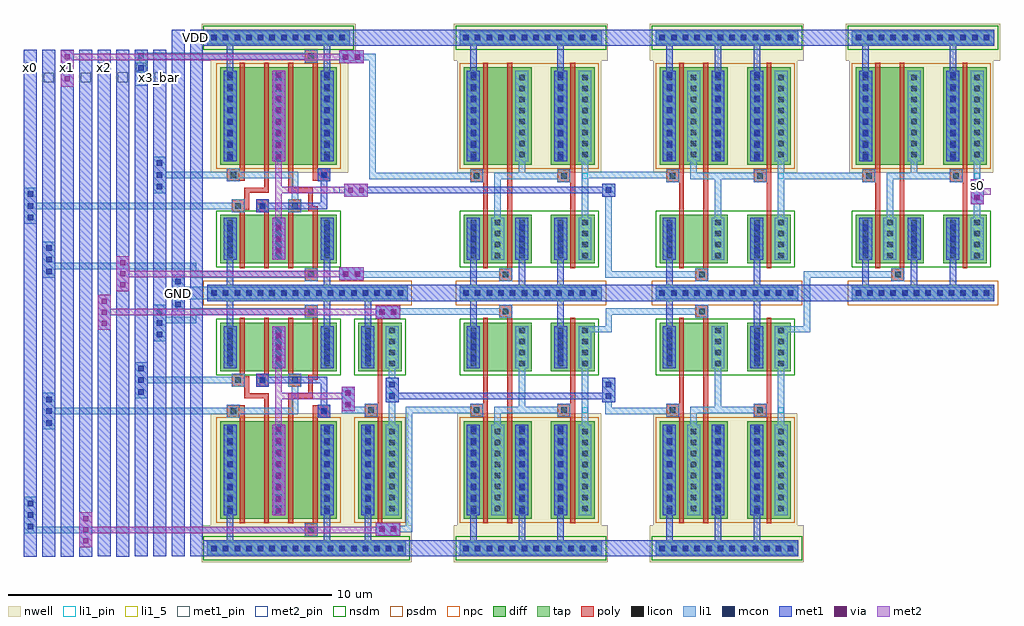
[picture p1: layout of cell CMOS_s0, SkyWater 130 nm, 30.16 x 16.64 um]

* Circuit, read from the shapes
.subckt CMOS_s0 GND VDD s0 x0 x0_bar x1 x1_bar x2 x2_bar x3 x3_bar
XM1 n1 x3 GND GND sky130_fd_pr__nfet_01v8 w=1.5 l=0.15
XM2 n2 x0 GND GND sky130_fd_pr__nfet_01v8 w=1.5 l=0.15
XM3 n3 x0 n1 GND sky130_fd_pr__nfet_01v8 w=1.5 l=0.15
XM4 CMOS_AND_5/A x3 n2 GND sky130_fd_pr__nfet_01v8 w=1.5 l=0.15
XM5 n4 x0_bar n3 GND sky130_fd_pr__nfet_01v8 w=1.5 l=0.15
XM6 n5 x3_bar CMOS_AND_5/A GND sky130_fd_pr__nfet_01v8 w=1.5 l=0.15
XM7 GND x3_bar n4 GND sky130_fd_pr__nfet_01v8 w=1.5 l=0.15
XM8 GND x0_bar n5 GND sky130_fd_pr__nfet_01v8 w=1.5 l=0.15
XM9 CMOS_AND_4/B n3 GND GND sky130_fd_pr__nfet_01v8 w=1.5 l=0.15
XM10 n6 x1_bar GND GND sky130_fd_pr__nfet_01v8 w=1.5 l=0.15
XM11 n7 x1 GND GND sky130_fd_pr__nfet_01v8 w=1.5 l=0.15
XM12 n8 x2 n6 GND sky130_fd_pr__nfet_01v8 w=1.5 l=0.15
XM13 GND x2_bar n7 GND sky130_fd_pr__nfet_01v8 w=1.5 l=0.15
XM14 CMOS_AND_4/A n8 GND GND sky130_fd_pr__nfet_01v8 w=1.5 l=0.15
XM15 CMOS_AND_5/B n7 GND GND sky130_fd_pr__nfet_01v8 w=1.5 l=0.15
XM16 n9 CMOS_AND_4/B GND GND sky130_fd_pr__nfet_01v8 w=1.5 l=0.15
XM17 n10 CMOS_AND_5/B GND GND sky130_fd_pr__nfet_01v8 w=1.5 l=0.15
XM18 n11 CMOS_AND_4/A n9 GND sky130_fd_pr__nfet_01v8 w=1.5 l=0.15
XM19 n12 CMOS_AND_5/A n10 GND sky130_fd_pr__nfet_01v8 w=1.5 l=0.15
XM20 CMOS_AND_4/AND n11 GND GND sky130_fd_pr__nfet_01v8 w=1.5 l=0.15
XM21 CMOS_OR_2/A n12 GND GND sky130_fd_pr__nfet_01v8 w=1.5 l=0.15
XM22 n13 CMOS_OR_2/A GND GND sky130_fd_pr__nfet_01v8 w=1.5 l=0.15
XM23 GND CMOS_AND_4/AND n13 GND sky130_fd_pr__nfet_01v8 w=1.5 l=0.15
XM24 s0 n13 GND GND sky130_fd_pr__nfet_01v8 w=1.5 l=0.15
XM25 n14 x0_bar VDD VDD sky130_fd_pr__pfet_01v8 w=3 l=0.15
XM26 n15 x3_bar VDD VDD sky130_fd_pr__pfet_01v8 w=3 l=0.15
XM27 n3 x3 n14 VDD sky130_fd_pr__pfet_01v8 w=3 l=0.15
XM28 CMOS_AND_5/A x0 n15 VDD sky130_fd_pr__pfet_01v8 w=3 l=0.15
XM29 n16 x3_bar n3 VDD sky130_fd_pr__pfet_01v8 w=3 l=0.15
XM30 n17 x0_bar CMOS_AND_5/A VDD sky130_fd_pr__pfet_01v8 w=3 l=0.15
XM31 VDD x0 n16 VDD sky130_fd_pr__pfet_01v8 w=3 l=0.15
XM32 VDD x3 n17 VDD sky130_fd_pr__pfet_01v8 w=3 l=0.15
XM33 CMOS_AND_4/B n3 VDD VDD sky130_fd_pr__pfet_01v8 w=3 l=0.15
XM34 n8 x1_bar VDD VDD sky130_fd_pr__pfet_01v8 w=3 l=0.15
XM35 n18 x1 VDD VDD sky130_fd_pr__pfet_01v8 w=3 l=0.15
XM36 VDD x2 n8 VDD sky130_fd_pr__pfet_01v8 w=3 l=0.15
XM37 n7 x2_bar n18 VDD sky130_fd_pr__pfet_01v8 w=3 l=0.15
XM38 CMOS_AND_4/A n8 VDD VDD sky130_fd_pr__pfet_01v8 w=3 l=0.15
XM39 CMOS_AND_5/B n7 VDD VDD sky130_fd_pr__pfet_01v8 w=3 l=0.15
XM40 n11 CMOS_AND_4/B VDD VDD sky130_fd_pr__pfet_01v8 w=3 l=0.15
XM41 n12 CMOS_AND_5/B VDD VDD sky130_fd_pr__pfet_01v8 w=3 l=0.15
XM42 VDD CMOS_AND_4/A n11 VDD sky130_fd_pr__pfet_01v8 w=3 l=0.15
XM43 VDD CMOS_AND_5/A n12 VDD sky130_fd_pr__pfet_01v8 w=3 l=0.15
XM44 CMOS_AND_4/AND n11 VDD VDD sky130_fd_pr__pfet_01v8 w=3 l=0.15
XM45 CMOS_OR_2/A n12 VDD VDD sky130_fd_pr__pfet_01v8 w=3 l=0.15
XM46 n19 CMOS_OR_2/A VDD VDD sky130_fd_pr__pfet_01v8 w=3 l=0.15
XM47 n13 CMOS_AND_4/AND n19 VDD sky130_fd_pr__pfet_01v8 w=3 l=0.15
XM48 s0 n13 VDD VDD sky130_fd_pr__pfet_01v8 w=3 l=0.15
.ends

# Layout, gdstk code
import gdstk
lib = gdstk.Library(unit=1e-6, precision=1e-09)
def R(c, l, rs):  # rectangles x0, y0, x1, y1
    for r in rs: c.add(gdstk.rectangle(r[:2], r[2:], *l))
def A(c, l, x, y, w, h, nx, ny, dx, dy):  # array of equal rectangles
    R(c, l, [(x+i*dx, y+j*dy, x+i*dx+w, y+j*dy+h) for i in range(nx) for j in range(ny)])
nwell = (64, 20)
diff = (65, 20)
tap = (65, 44)
poly = (66, 20)
licon = (66, 44)
li1_5 = (67, 5)
li1_pin = (67, 16)
li1 = (67, 20)
mcon = (67, 44)
met1_pin = (68, 16)
met1 = (68, 20)
via = (68, 44)
met2_pin = (69, 16)
met2 = (69, 20)
nsdm = (93, 44)
psdm = (94, 20)
npc = (95, 20)

cmos_xnor = lib.new_cell('CMOS_XNOR')
R(cmos_xnor, nwell, [(-2.965,-0.25,3.14,3.2), (-3.245,3.2,3.245,4.35)])
R(cmos_xnor, diff, [(-2.665,-3.05,0.935,-1.55), (1.59,-3.05,2.94,-1.55), (-2.665,0,0.935,3), (1.59,0,2.94,3)])
R(cmos_xnor, tap, [(-3.065,-4.22,3.12,-3.72), (-3.065,3.67,3.065,4.17)])
A(cmos_xnor, poly, -2.065, -3.2, 0.15, 1.725, 3, 1, 0.75, 0)
R(cmos_xnor, poly, [(-0.065,-3.6,0.335,-3.2), (0.185,-3.2,0.335,-1.44), (2.19,-3.2,2.34,-0.55), (-2.315,-1.475,-1.915,-1.4), (-1.565,-1.475,-1.165,-1.075), (-0.565,-1.475,-0.165,-1.075), (0.045,-1.44,0.335,-1.29), (-2.315,-1.4,-1.775,-1.075), (0.045,-1.29,0.195,-0.865), (-1.925,-1.075,-1.775,-0.865), (-1.925,-0.865,-1.165,-0.715), (-0.565,-0.865,0.195,-0.715), (-1.315,-0.715,-1.165,3.15), (-0.565,-0.715,-0.415,3.15), (1.79,-0.55,2.34,-0.15), (-2.465,-0.52,-2.065,-0.505), (0.335,-0.52,0.735,-0.505), (-2.465,-0.505,-1.915,-0.12), (0.185,-0.505,0.735,-0.12), (2.19,-0.15,2.34,3.15), (-2.065,-0.12,-1.915,3.15), (0.185,-0.12,0.335,3.15), (-0.065,3.15,0.335,3.55)])
A(cmos_xnor, licon, -2.95, -4.055, 0.17, 0.17, 17, 2, 0.36, 7.89)
A(cmos_xnor, licon, -2.45, -2.895, 0.17, 0.17, 3, 4, 1.5, 0.34)
A(cmos_xnor, licon, 1.805, -2.895, 0.17, 0.17, 1, 4, 0, 0.34)
A(cmos_xnor, licon, 2.555, -2.895, 0.17, 0.17, 1, 4, 0, 0.34)
A(cmos_xnor, licon, -2.45, 0.225, 0.17, 0.17, 3, 8, 1.5, 0.34)
A(cmos_xnor, licon, 1.805, 0.225, 0.17, 0.17, 1, 8, 0, 0.34)
A(cmos_xnor, licon, 2.555, 0.225, 0.17, 0.17, 1, 8, 0, 0.34)
R(cmos_xnor, licon, [(0.05,-3.485,0.22,-3.315), (-2.2,-1.36,-2.03,-1.19), (-1.45,-1.36,-1.28,-1.19), (-0.45,-1.36,-0.28,-1.19), (1.905,-0.435,2.075,-0.265), (-2.35,-0.405,-2.18,-0.235), (0.45,-0.405,0.62,-0.235), (0.05,3.265,0.22,3.435)])
R(cmos_xnor, li1_5, [(1.905,-0.435,2.075,-0.265)])
R(cmos_xnor, li1_pin, [(0.05,-3.485,0.22,-3.315), (-2.2,-1.36,-2.03,-1.19), (2.555,-0.91,2.725,-0.74), (-2.38,-0.445,-2.135,-0.21), (0.05,3.265,0.22,3.435)])
A(cmos_xnor, li1, -2.565, -2.95, 0.4, 1.3, 3, 1, 1.5, 0)
A(cmos_xnor, li1, -2.565, 0.1, 0.4, 2.8, 3, 1, 1.5, 0)
R(cmos_xnor, li1, [(-3.065,-4.17,3.12,-3.77), (-0.065,-3.6,0.335,-3.2), (1.69,-2.95,2.09,-1.65), (2.44,-2.95,2.84,-1.65), (2.54,-1.65,2.74,0.1), (-2.315,-1.475,-1.915,-1.075), (-1.565,-1.475,-1.165,-1.075), (-0.565,-1.475,-0.165,-1.075), (1.08,-1.08,1.48,-0.68), (-0.465,-1.075,-0.265,-0.42), (1.18,-0.68,1.38,-0.45), (1.79,-0.55,2.19,-0.45), (-2.465,-0.52,-2.065,-0.42), (0.335,-0.52,0.735,-0.12), (1.18,-0.45,2.19,-0.25), (-2.465,-0.42,-0.265,-0.22), (1.79,-0.25,2.19,-0.15), (-2.465,-0.22,-2.065,-0.12), (1.69,0.1,2.09,2.9), (2.44,0.1,2.84,2.9), (-0.065,3.15,0.335,3.55), (-3.065,3.72,3.065,4.12)])
A(cmos_xnor, mcon, -2.95, -4.055, 0.17, 0.17, 17, 2, 0.36, 7.89)
A(cmos_xnor, mcon, -2.45, -2.745, 0.17, 0.17, 3, 3, 1.5, 0.36)
A(cmos_xnor, mcon, 1.805, -2.745, 0.17, 0.17, 1, 3, 0, 0.36)
A(cmos_xnor, mcon, -2.45, 0.155, 0.17, 0.17, 3, 8, 1.5, 0.36)
A(cmos_xnor, mcon, 1.805, 0.155, 0.17, 0.17, 1, 8, 0, 0.36)
R(cmos_xnor, mcon, [(-1.45,-1.36,-1.28,-1.19), (1.195,-0.965,1.365,-0.795), (0.45,-0.405,0.62,-0.235)])
R(cmos_xnor, met1_pin, [(-1.165,-4.07,-0.965,-3.87), (-1.165,3.82,-0.965,4.02)])
A(cmos_xnor, met1, -2.565, -2.95, 0.4, 1.3, 3, 1, 1.5, 0)
A(cmos_xnor, met1, -2.565, 0.1, 0.4, 2.8, 3, 1, 1.5, 0)
R(cmos_xnor, met1, [(-3.065,-4.22,3.12,-3.72), (-2.465,-3.72,-2.265,-2.95), (0.535,-3.72,0.735,-2.95), (1.79,-3.72,1.99,-2.95), (1.69,-2.95,2.09,-1.65), (-1.565,-1.475,-1.165,-1.375), (-1.565,-1.375,0.63,-1.175), (-1.565,-1.175,-1.165,-1.075), (0.435,-1.175,0.63,-0.52), (1.08,-1.08,1.48,-0.68), (0.335,-0.52,0.735,-0.12), (1.69,0.1,2.09,2.9), (-2.465,2.9,-2.265,3.67), (0.535,2.9,0.735,3.67), (1.79,2.9,1.99,3.67), (-3.065,3.67,3.065,4.17)])
A(cmos_xnor, via, -0.94, -2.735, 0.15, 0.15, 1, 3, 0, 0.36)
A(cmos_xnor, via, -0.94, 0.165, 0.15, 0.15, 1, 8, 0, 0.36)
R(cmos_xnor, via, [(1.205,-0.955,1.355,-0.805)])
R(cmos_xnor, met2, [(-1.065,-2.95,-0.665,-1.65), (-0.965,-1.65,-0.765,-0.88), (1.08,-1.08,1.48,-0.88), (-0.965,-0.88,1.48,-0.68), (-0.965,-0.68,-0.765,0.1), (-1.065,0.1,-0.665,2.9)])
R(cmos_xnor, nsdm, [(-2.79,-3.175,1.06,-1.425), (1.465,-3.175,3.065,-1.425), (-3.19,3.545,3.19,4.295)])
R(cmos_xnor, psdm, [(-3.19,-4.345,3.245,-3.595), (-2.79,-0.125,1.06,3.125), (1.465,-0.125,3.065,3.125)])
R(cmos_xnor, npc, [(-0.05,-3.585,0.32,-3.215), (-2.3,-1.46,-1.93,-1.09), (-1.55,-1.46,-1.18,-1.09), (-0.55,-1.46,-0.18,-1.09), (1.805,-0.535,2.175,-0.165), (-2.45,-0.505,-2.08,-0.135), (0.35,-0.505,0.72,-0.135), (-0.05,3.165,0.32,3.535)])
cmos_xnor.add(gdstk.Label('GND!', (-1.065,-3.97), layer=68, texttype=16))
cmos_xnor.add(gdstk.Label('VDD', (-1.065,3.92), layer=68, texttype=16))
cmos_xnor.add(gdstk.Label('XNOR', (2.64,-0.825), layer=67, texttype=16))
cmos_xnor.add(gdstk.Label('B', (0.135,3.35), layer=67, texttype=16))
cmos_xnor.add(gdstk.Label('A_bar', (0.135,-3.4), layer=67, texttype=16))
cmos_xnor.add(gdstk.Label('A', (-2.115,-1.275), layer=67, texttype=16))
cmos_xnor.add(gdstk.Label('B_bar', (-2.257,-0.327), layer=67, texttype=16))

cmos_or = lib.new_cell('CMOS_OR')
R(cmos_or, nwell, [(-2.275,-0.25,2.175,3.2), (-2.38,3.2,2.38,4.35)])
R(cmos_or, diff, [(-2.075,-3.05,0.025,-1.55), (0.625,-3.05,1.975,-1.55), (-2.075,0,0.025,3), (0.625,0,1.975,3)])
R(cmos_or, tap, [(-2.2,-4.22,2.2,-3.72), (-2.2,3.67,2.2,4.17)])
R(cmos_or, poly, [(-0.975,-3.6,-0.575,-3.2), (-1.475,-3.2,-1.325,-0.55), (-0.725,-3.2,-0.575,3.15), (1.225,-3.2,1.375,-0.55), (-1.875,-0.55,-1.325,-0.15), (0.825,-0.55,1.375,-0.15), (-1.475,-0.15,-1.325,3.15), (1.225,-0.15,1.375,3.15)])
A(cmos_or, licon, -2.085, -4.055, 0.17, 0.17, 12, 2, 0.36, 7.89)
A(cmos_or, licon, -1.86, -2.895, 0.17, 0.17, 3, 4, 0.75, 0.34)
A(cmos_or, licon, 0.84, -2.895, 0.17, 0.17, 1, 4, 0, 0.34)
A(cmos_or, licon, 1.59, -2.895, 0.17, 0.17, 1, 4, 0, 0.34)
A(cmos_or, licon, -1.86, 0.225, 0.17, 0.17, 1, 8, 0, 0.34)
A(cmos_or, licon, -0.36, 0.225, 0.17, 0.17, 1, 8, 0, 0.34)
A(cmos_or, licon, 0.84, 0.225, 0.17, 0.17, 1, 8, 0, 0.34)
A(cmos_or, licon, 1.59, 0.225, 0.17, 0.17, 1, 8, 0, 0.34)
R(cmos_or, licon, [(-0.86,-3.485,-0.69,-3.315), (-1.76,-0.435,-1.59,-0.265), (0.94,-0.435,1.11,-0.265)])
R(cmos_or, li1_pin, [(-0.86,-3.485,-0.69,-3.315), (-1.76,-0.435,-1.59,-0.265), (1.59,-0.435,1.76,-0.265)])
A(cmos_or, li1, -1.975, -2.95, 0.4, 1.3, 3, 1, 0.75, 0)
R(cmos_or, li1, [(-2.2,-4.17,2.2,-3.77), (-0.975,-3.6,-0.575,-3.2), (0.725,-2.95,1.125,-1.65), (1.475,-2.95,1.875,-1.65), (-1.125,-1.65,-0.925,-0.45), (1.575,-1.65,1.775,0.1), (-1.875,-0.55,-1.475,-0.15), (0.825,-0.55,1.225,-0.45), (-1.125,-0.45,1.225,-0.25), (-0.375,-0.25,-0.175,0.1), (0.825,-0.25,1.225,-0.15), (-1.975,0.1,-1.575,2.9), (-0.475,0.1,-0.075,2.9), (0.725,0.1,1.125,2.9), (1.475,0.1,1.875,2.9), (-2.2,3.72,2.2,4.12)])
A(cmos_or, mcon, -2.085, -4.055, 0.17, 0.17, 12, 2, 0.36, 7.89)
A(cmos_or, mcon, -1.86, -2.745, 0.17, 0.17, 1, 3, 0, 0.36)
A(cmos_or, mcon, -0.36, -2.745, 0.17, 0.17, 1, 3, 0, 0.36)
A(cmos_or, mcon, 0.84, -2.745, 0.17, 0.17, 1, 3, 0, 0.36)
A(cmos_or, mcon, -1.86, 0.155, 0.17, 0.17, 1, 8, 0, 0.36)
A(cmos_or, mcon, 0.84, 0.155, 0.17, 0.17, 1, 8, 0, 0.36)
R(cmos_or, met1_pin, [(-0.3,-4.07,-0.1,-3.87), (-0.3,3.82,-0.1,4.02)])
R(cmos_or, met1, [(-2.2,-4.22,2.2,-3.72), (-1.875,-3.72,-1.675,-2.95), (-0.375,-3.72,-0.175,-2.95), (0.825,-3.72,1.025,-2.95), (-1.975,-2.95,-1.575,-1.65), (-0.475,-2.95,-0.075,-1.65), (0.725,-2.95,1.125,-1.65), (-1.975,0.1,-1.575,2.9), (0.725,0.1,1.125,2.9), (-1.875,2.9,-1.675,3.67), (0.825,2.9,1.025,3.67), (-2.2,3.67,2.2,4.17)])
R(cmos_or, nsdm, [(-2.2,-3.175,2.1,-1.425), (-2.325,3.545,2.325,4.295)])
R(cmos_or, psdm, [(-2.325,-4.345,2.325,-3.595), (-2.2,-0.125,2.1,3.125)])
R(cmos_or, npc, [(-0.96,-3.585,-0.59,-3.215), (-1.86,-0.535,-1.49,-0.165), (0.84,-0.535,1.21,-0.165)])
cmos_or.add(gdstk.Label('GND!', (-0.2,-3.97), layer=68, texttype=16))
cmos_or.add(gdstk.Label('VDD', (-0.2,3.92), layer=68, texttype=16))
cmos_or.add(gdstk.Label('OR', (1.675,-0.35), layer=67, texttype=16))
cmos_or.add(gdstk.Label('B', (-0.775,-3.4), layer=67, texttype=16))
cmos_or.add(gdstk.Label('A', (-1.675,-0.35), layer=67, texttype=16))

cmos_and = lib.new_cell('CMOS_AND')
R(cmos_and, nwell, [(-2.275,-0.25,2.175,3.2), (-2.38,3.2,2.38,4.35)])
R(cmos_and, diff, [(-2.075,-3.05,0.025,-1.55), (0.625,-3.05,1.975,-1.55), (-2.075,0,0.025,3), (0.625,0,1.975,3)])
R(cmos_and, tap, [(-2.2,-4.22,2.2,-3.72), (-2.2,3.67,2.2,4.17)])
R(cmos_and, poly, [(-0.975,-3.6,-0.575,-3.2), (-1.475,-3.2,-1.325,-0.55), (-0.725,-3.2,-0.575,3.15), (1.225,-3.2,1.375,-0.55), (-1.875,-0.55,-1.325,-0.15), (0.825,-0.55,1.375,-0.15), (-1.475,-0.15,-1.325,3.15), (1.225,-0.15,1.375,3.15)])
A(cmos_and, licon, -2.085, -4.055, 0.17, 0.17, 12, 2, 0.36, 7.89)
A(cmos_and, licon, -1.86, -2.895, 0.17, 0.17, 1, 4, 0, 0.34)
A(cmos_and, licon, -0.36, -2.895, 0.17, 0.17, 1, 4, 0, 0.34)
A(cmos_and, licon, 0.84, -2.895, 0.17, 0.17, 1, 4, 0, 0.34)
A(cmos_and, licon, 1.59, -2.895, 0.17, 0.17, 1, 4, 0, 0.34)
A(cmos_and, licon, -1.86, 0.225, 0.17, 0.17, 3, 8, 0.75, 0.34)
A(cmos_and, licon, 0.84, 0.225, 0.17, 0.17, 1, 8, 0, 0.34)
A(cmos_and, licon, 1.59, 0.225, 0.17, 0.17, 1, 8, 0, 0.34)
R(cmos_and, licon, [(-0.86,-3.485,-0.69,-3.315), (-1.76,-0.435,-1.59,-0.265), (0.94,-0.435,1.11,-0.265)])
R(cmos_and, li1_pin, [(-0.86,-3.485,-0.69,-3.315), (-1.76,-0.435,-1.59,-0.265), (1.59,-0.435,1.76,-0.265)])
A(cmos_and, li1, -1.975, 0.1, 0.4, 2.8, 3, 1, 0.75, 0)
R(cmos_and, li1, [(-2.2,-4.17,2.2,-3.77), (-0.975,-3.6,-0.575,-3.2), (-1.975,-2.95,-1.575,-1.65), (-0.475,-2.95,-0.075,-1.65), (0.725,-2.95,1.125,-1.65), (1.475,-2.95,1.875,-1.65), (-0.375,-1.65,-0.175,-0.45), (1.575,-1.65,1.775,0.1), (-1.875,-0.55,-1.475,-0.15), (0.825,-0.55,1.225,-0.45), (-1.125,-0.45,1.225,-0.25), (-1.125,-0.25,-0.925,0.1), (0.825,-0.25,1.225,-0.15), (0.725,0.1,1.125,2.9), (1.475,0.1,1.875,2.9), (-2.2,3.72,2.2,4.12)])
A(cmos_and, mcon, -2.085, -4.055, 0.17, 0.17, 12, 2, 0.36, 7.89)
A(cmos_and, mcon, -1.86, -2.745, 0.17, 0.17, 1, 3, 0, 0.36)
A(cmos_and, mcon, 0.84, -2.745, 0.17, 0.17, 1, 3, 0, 0.36)
A(cmos_and, mcon, -1.86, 0.155, 0.17, 0.17, 1, 8, 0, 0.36)
A(cmos_and, mcon, -0.36, 0.155, 0.17, 0.17, 1, 8, 0, 0.36)
A(cmos_and, mcon, 0.84, 0.155, 0.17, 0.17, 1, 8, 0, 0.36)
R(cmos_and, met1_pin, [(-0.3,-4.07,-0.1,-3.87), (-0.3,3.82,-0.1,4.02)])
R(cmos_and, met1, [(-2.2,-4.22,2.2,-3.72), (-1.875,-3.72,-1.675,-2.95), (0.825,-3.72,1.025,-2.95), (-1.975,-2.95,-1.575,-1.65), (0.725,-2.95,1.125,-1.65), (-1.975,0.1,-1.575,2.9), (-0.475,0.1,-0.075,2.9), (0.725,0.1,1.125,2.9), (-1.875,2.9,-1.675,3.67), (-0.37,2.9,-0.17,3.67), (0.825,2.9,1.025,3.67), (-2.2,3.67,2.2,4.17)])
R(cmos_and, nsdm, [(-2.2,-3.175,2.1,-1.425), (-2.325,3.545,2.325,4.295)])
R(cmos_and, psdm, [(-2.325,-4.345,2.325,-3.595), (-2.2,-0.125,2.1,3.125)])
R(cmos_and, npc, [(-0.96,-3.585,-0.59,-3.215), (-1.86,-0.535,-1.49,-0.165), (0.84,-0.535,1.21,-0.165)])
cmos_and.add(gdstk.Label('GND!', (-0.2,-3.97), layer=68, texttype=16))
cmos_and.add(gdstk.Label('VDD', (-0.2,3.92), layer=68, texttype=16))
cmos_and.add(gdstk.Label('AND', (1.675,-0.35), layer=67, texttype=16))
cmos_and.add(gdstk.Label('A', (-0.775,-3.4), layer=67, texttype=16))
cmos_and.add(gdstk.Label('B', (-1.675,-0.35), layer=67, texttype=16))

cmos_xor = lib.new_cell('CMOS_XOR')
R(cmos_xor, nwell, [(-2.1,-0.25,2.15,3.2), (-2.38,3.2,2.38,4.35)])
R(cmos_xor, diff, [(-1.8,-3.05,1.8,-1.55), (-1.8,0,1.8,3)])
R(cmos_xor, tap, [(-2.2,-4.22,2.2,-3.72), (-2.2,3.67,2.2,4.17)])
A(cmos_xor, poly, -1.2, -3.2, 0.15, 1.725, 3, 1, 0.75, 0)
R(cmos_xor, poly, [(0.8,-3.6,1.2,-3.2), (1.05,-3.2,1.2,-1.44), (-1.45,-1.475,-1.05,-1.4), (-0.7,-1.475,-0.3,-1.075), (0.3,-1.475,0.7,-1.075), (0.91,-1.44,1.2,-1.29), (-1.45,-1.4,-0.91,-1.075), (0.91,-1.29,1.06,-0.865), (-1.06,-1.075,-0.91,-0.865), (-1.06,-0.865,-0.3,-0.715), (0.3,-0.865,1.06,-0.715), (-0.45,-0.715,-0.3,3.15), (0.3,-0.715,0.45,3.15), (-1.6,-0.52,-1.2,-0.505), (1.2,-0.52,1.6,-0.505), (-1.6,-0.505,-1.05,-0.12), (1.05,-0.505,1.6,-0.12), (-1.2,-0.12,-1.05,3.15), (1.05,-0.12,1.2,3.15), (0.8,3.15,1.2,3.55)])
A(cmos_xor, licon, -2.085, -4.055, 0.17, 0.17, 12, 2, 0.36, 7.89)
A(cmos_xor, licon, -1.585, -2.895, 0.17, 0.17, 3, 4, 1.5, 0.34)
A(cmos_xor, licon, -1.585, 0.225, 0.17, 0.17, 3, 8, 1.5, 0.34)
R(cmos_xor, licon, [(0.915,-3.485,1.085,-3.315), (-1.335,-1.36,-1.165,-1.19), (-0.585,-1.36,-0.415,-1.19), (0.415,-1.36,0.585,-1.19), (-1.485,-0.405,-1.315,-0.235), (1.315,-0.405,1.485,-0.235), (0.915,3.265,1.085,3.435)])
R(cmos_xor, li1_pin, [(0.915,-3.485,1.085,-3.315), (-1.335,-1.36,-1.165,-1.19), (-1.515,-0.445,-1.27,-0.21), (0.915,3.265,1.085,3.435)])
A(cmos_xor, li1, -1.7, -2.95, 0.4, 1.3, 3, 1, 1.5, 0)
A(cmos_xor, li1, -1.7, 0.1, 0.4, 2.8, 3, 1, 1.5, 0)
R(cmos_xor, li1, [(-2.2,-4.17,2.2,-3.77), (0.8,-3.6,1.2,-3.2), (-1.45,-1.475,-1.05,-1.075), (-0.7,-1.475,-0.3,-1.075), (0.3,-1.475,0.7,-1.075), (0.4,-1.075,0.6,-0.42), (-1.6,-0.52,-1.2,-0.42), (1.2,-0.52,1.6,-0.12), (-1.6,-0.42,0.6,-0.22), (-1.6,-0.22,-1.2,-0.12), (0.8,3.15,1.2,3.55), (-2.2,3.72,2.2,4.12)])
A(cmos_xor, mcon, -2.085, -4.055, 0.17, 0.17, 12, 2, 0.36, 7.89)
A(cmos_xor, mcon, -1.585, -2.745, 0.17, 0.17, 3, 3, 1.5, 0.36)
A(cmos_xor, mcon, -1.585, 0.155, 0.17, 0.17, 3, 8, 1.5, 0.36)
R(cmos_xor, mcon, [(-0.585,-1.36,-0.415,-1.19), (1.315,-0.405,1.485,-0.235)])
R(cmos_xor, met1_pin, [(-0.3,-4.07,-0.1,-3.87), (-0.3,3.82,-0.1,4.02)])
A(cmos_xor, met1, -1.7, -2.95, 0.4, 1.3, 3, 1, 1.5, 0)
A(cmos_xor, met1, -1.7, 0.1, 0.4, 2.8, 3, 1, 1.5, 0)
R(cmos_xor, met1, [(-2.2,-4.22,2.2,-3.72), (-1.6,-3.72,-1.4,-2.95), (1.4,-3.72,1.6,-2.95), (-0.7,-1.475,-0.3,-1.375), (-0.7,-1.375,1.495,-1.175), (-0.7,-1.175,-0.3,-1.075), (1.3,-1.175,1.495,-0.52), (1.2,-0.52,1.6,-0.12), (-1.6,2.9,-1.4,3.67), (1.4,2.9,1.6,3.67), (-2.2,3.67,2.2,4.17)])
A(cmos_xor, via, -0.075, -2.735, 0.15, 0.15, 1, 3, 0, 0.36)
A(cmos_xor, via, -0.075, 0.165, 0.15, 0.15, 1, 8, 0, 0.36)
R(cmos_xor, met2_pin, [(1.7,-0.87,1.88,-0.69)])
R(cmos_xor, met2, [(-0.2,-2.95,0.2,-1.65), (-0.1,-1.65,0.1,-0.88), (-0.1,-0.88,2.15,-0.68), (-0.1,-0.68,0.1,0.1), (-0.2,0.1,0.2,2.9)])
R(cmos_xor, nsdm, [(-1.925,-3.175,1.925,-1.425), (-2.325,3.545,2.325,4.295)])
R(cmos_xor, psdm, [(-2.325,-4.345,2.325,-3.595), (-1.925,-0.125,1.925,3.125)])
R(cmos_xor, npc, [(0.815,-3.585,1.185,-3.215), (-1.435,-1.46,-1.065,-1.09), (-0.685,-1.46,-0.315,-1.09), (0.315,-1.46,0.685,-1.09), (-1.585,-0.505,-1.215,-0.135), (1.215,-0.505,1.585,-0.135), (0.815,3.165,1.185,3.535)])
cmos_xor.add(gdstk.Label('GND!', (-0.2,-3.97), layer=68, texttype=16))
cmos_xor.add(gdstk.Label('VDD', (-0.2,3.92), layer=68, texttype=16))
cmos_xor.add(gdstk.Label('B', (1,3.35), layer=67, texttype=16))
cmos_xor.add(gdstk.Label('A_bar', (1,-3.4), layer=67, texttype=16))
cmos_xor.add(gdstk.Label('A', (-1.25,-1.275), layer=67, texttype=16))
cmos_xor.add(gdstk.Label('B_bar', (-1.392,-0.327), layer=67, texttype=16))
cmos_xor.add(gdstk.Label('XOR', (1.79,-0.78), layer=69, texttype=16))

cmos_s0 = lib.new_cell('CMOS_s0')
R(cmos_s0, li1, [(-4.215,-7.5,-3.455,-7.4), (-15.08,-7.42,-6.41,-7.22), (-4.215,-7.4,-3.085,-7.2), (-15.08,-7.22,-14.68,-6.3), (-4.215,-7.2,-3.455,-7.1), (-3.285,-7.2,-3.085,-3.72), (-14.51,-4.21,-14.11,-3.75), (-14.51,-3.75,-8.81,-3.55), (2.885,-3.75,4.81,-3.55), (-5.265,-3.72,-5.165,-3.65), (-3.285,-3.72,-1.295,-3.52), (-5.265,-3.65,-4.865,-3.25), (-14.51,-3.55,-14.11,-3.09), (2.885,-3.55,3.085,-3.38), (-3.905,-3.38,-3.505,-2.62), (2.785,-3.38,3.185,-2.62), (-11.66,-3.255,-11.26,-2.795), (-11.66,-2.795,-8.66,-2.595), (-11.66,-2.595,-11.26,-2.135), (-11.09,-1.49,-10.69,-0.93), (2.355,-1.22,3.09,-1.02), (8.515,-1.22,9.21,-1.02), (2.89,-1.02,3.09,-0.67), (9.01,-1.02,9.21,0.47), (-11.09,-0.93,-9.75,-0.73), (-4.215,-0.79,-3.455,-0.67), (-11.09,-0.73,-10.69,-0.37), (-9.95,-0.73,-9.75,-0.67), (-9.95,-0.67,-6.41,-0.47), (-4.215,-0.67,-0.395,-0.47), (2.89,-0.67,5.665,-0.47), (-10.52,-0.56,-10.12,-0.2), (-4.215,-0.47,-3.455,-0.39), (-10.52,-0.2,-9.41,0.2), (-10.52,0.2,-10.12,0.56), (-5.34,0.39,-4.58,0.47), (-14.51,0.47,-14.11,0.73), (-9.95,0.47,-6.41,0.67), (-5.34,0.47,-0.395,0.67), (2.885,0.47,5.665,0.67), (9.01,0.47,11.725,0.67), (-9.95,0.67,-9.75,0.73), (-5.34,0.67,-4.58,0.79), (2.885,0.67,3.085,2.98), (-14.51,0.73,-9.75,0.93), (-14.51,0.93,-14.11,1.59), (-15.08,2.135,-14.68,2.595), (-15.08,2.595,-8.66,2.795), (14.175,2.75,14.575,3.51), (-15.08,2.795,-14.68,3.255), (2.785,2.98,3.185,3.38), (-11.09,3.09,-10.69,3.55), (-4.41,3.52,-1.295,3.72), (8.415,3.52,10.825,3.72), (-11.09,3.55,-8.81,3.75), (2.355,3.55,4.765,3.75), (-4.41,3.72,-4.21,7.2), (-11.09,3.75,-10.69,4.21), (-11.66,6.4,-11.26,7.22), (-5.34,7.1,-4.58,7.2), (-5.34,7.2,-4.21,7.4), (-11.66,7.22,-6.41,7.42), (-5.34,7.4,-4.58,7.5), (-11.66,7.42,-11.26,7.52)])
A(cmos_s0, mcon, -14.965, -7.305, 0.17, 0.17, 1, 3, 0, 0.36)
A(cmos_s0, mcon, -14.395, -4.095, 0.17, 0.17, 1, 3, 0, 0.36)
A(cmos_s0, mcon, -11.545, -3.14, 0.17, 0.17, 1, 3, 0, 0.36)
A(cmos_s0, mcon, -10.975, -1.375, 0.17, 0.17, 1, 3, 0, 0.36)
A(cmos_s0, mcon, -10.405, -0.445, 0.17, 0.17, 1, 3, 0, 0.36)
A(cmos_s0, mcon, -14.395, 0.585, 0.17, 0.17, 1, 3, 0, 0.36)
A(cmos_s0, mcon, -14.965, 2.25, 0.17, 0.17, 1, 3, 0, 0.36)
A(cmos_s0, mcon, -10.975, 3.205, 0.17, 0.17, 1, 3, 0, 0.36)
A(cmos_s0, mcon, -11.545, 6.515, 0.17, 0.17, 1, 3, 0, 0.36)
R(cmos_s0, mcon, [(-4.1,-7.385,-3.93,-7.215), (-3.74,-7.385,-3.57,-7.215), (-5.15,-3.535,-4.98,-3.365), (-3.79,-3.265,-3.62,-3.095), (2.9,-3.265,3.07,-3.095), (-3.79,-2.905,-3.62,-2.735), (2.9,-2.905,3.07,-2.735), (-4.1,-0.675,-3.93,-0.505), (-3.74,-0.675,-3.57,-0.505), (-5.225,0.505,-5.055,0.675), (-4.865,0.505,-4.695,0.675), (14.29,2.865,14.46,3.035), (2.9,3.095,3.07,3.265), (14.29,3.225,14.46,3.395), (-5.225,7.215,-5.055,7.385), (-4.865,7.215,-4.695,7.385)])
R(cmos_s0, met1_pin, [(-10.405,-0.085,-10.235,0.085), (-14.465,6.51,-14.16,6.81), (-13.32,6.51,-13.015,6.81), (-12.185,6.515,-11.88,6.815), (-11.04,6.515,-10.735,6.815), (-15.03,6.815,-14.725,7.115), (-13.89,6.815,-13.585,7.115), (-12.75,6.82,-12.445,7.12), (-11.61,6.82,-11.305,7.12), (-9.86,7.81,-9.69,7.98)])
A(cmos_s0, met1, -15.08, -8.145, 0.4, 15.665, 4, 1, 0.57, 0)
R(cmos_s0, met1, [(-12.23,-8.145,-11.83,7.52), (-12.8,-8.14,-12.4,7.52), (-11.66,-8.14,-11.26,7.52), (-11.09,-8.14,-10.69,7.52), (-10.52,-8.14,-10.12,8.14), (-9.95,-8.14,-9.41,-7.64), (-3.28,-8.14,-1.62,-7.64), (2.78,-8.14,4.44,-7.64), (-9.95,-7.64,-9.55,7.64), (-4.215,-7.5,-3.455,-7.1), (-5.265,-3.65,-4.865,-3.25), (-3.905,-3.38,-3.505,-3.28), (2.785,-3.38,3.185,-3.28), (-3.905,-3.28,3.185,-3.08), (-3.905,-3.08,-3.505,-2.62), (2.785,-3.08,3.185,-2.62), (-4.215,-0.79,-3.455,-0.39), (-3.225,-0.25,-1.565,0.25), (2.78,-0.25,4.44,0.25), (8.84,-0.25,10.5,0.25), (-5.34,0.39,-4.58,0.79), (14.175,2.75,14.575,3.51), (-5.19,2.98,-4.45,3.08), (2.785,2.98,3.185,3.08), (-5.19,3.08,3.185,3.28), (-5.19,3.28,-4.45,3.38), (2.785,3.28,3.185,3.38), (-5.34,7.1,-4.58,7.5), (-9.95,7.64,-9.41,8.14), (-5.01,7.64,-1.62,8.14), (1.05,7.64,4.44,8.14), (8.84,7.64,10.5,8.14)])
A(cmos_s0, via, -13.245, -7.735, 0.15, 0.15, 1, 3, 0, 0.34)
A(cmos_s0, via, -12.675, -1.005, 0.15, 0.15, 1, 3, 0, 0.34)
A(cmos_s0, via, -12.105, 0.175, 0.15, 0.15, 1, 3, 0, 0.34)
A(cmos_s0, via, -13.815, 6.545, 0.15, 0.15, 1, 3, 0, 0.34)
R(cmos_s0, via, [(-4.09,-7.375,-3.94,-7.225), (-3.73,-7.375,-3.58,-7.225), (-5.14,-3.525,-4.99,-3.375), (-4.09,-0.665,-3.94,-0.515), (-3.73,-0.665,-3.58,-0.515), (-5.215,0.515,-5.065,0.665), (-4.855,0.515,-4.705,0.665), (14.3,2.875,14.45,3.025), (-5.065,3.105,-4.915,3.255), (-4.725,3.105,-4.575,3.255), (14.3,3.235,14.45,3.385), (-5.215,7.225,-5.065,7.375), (-4.855,7.225,-4.705,7.375)])
R(cmos_s0, met2_pin, [(14.29,3.225,14.46,3.395)])
R(cmos_s0, met2, [(-13.37,-7.86,-12.97,-7.42), (-4.215,-7.5,-3.455,-7.42), (-13.37,-7.42,-3.455,-7.22), (-13.37,-7.22,-12.97,-6.78), (-4.215,-7.22,-3.455,-7.1), (-5.265,-3.65,-4.865,-3.25), (-12.8,-1.13,-12.4,-0.69), (-4.215,-0.79,-3.455,-0.69), (-12.8,-0.69,-3.455,-0.49), (-12.8,-0.49,-12.4,-0.05), (-4.215,-0.49,-3.455,-0.39), (-12.23,0.05,-11.83,0.49), (-5.34,0.39,-4.58,0.49), (-12.23,0.49,-4.58,0.69), (-12.23,0.69,-11.83,1.13), (-5.34,0.69,-4.58,0.79), (14.175,2.75,14.575,3.03), (-5.19,2.98,-4.45,3.38), (14.175,3.03,14.8,3.23), (14.175,3.23,14.575,3.51), (-13.94,6.38,-13.54,6.82), (-13.94,6.76,-13.54,7.2), (-5.34,7.1,-4.58,7.2), (-13.94,7.2,-4.58,7.4), (-13.94,7.4,-13.54,7.5), (-5.34,7.4,-4.58,7.5)])
cmos_s0.add(gdstk.Reference(cmos_xnor, (-6.345,-3.97), x_reflection=True))
cmos_s0.add(gdstk.Reference(cmos_or, (0.58,3.97)))
cmos_s0.add(gdstk.Reference(cmos_or, (12.7,3.97)))
cmos_s0.add(gdstk.Reference(cmos_and, (0.58,-3.97), x_reflection=True))
cmos_s0.add(gdstk.Reference(cmos_and, (6.64,-3.97), x_reflection=True))
cmos_s0.add(gdstk.Reference(cmos_and, (6.64,3.97)))
cmos_s0.add(gdstk.Reference(cmos_xor, (-7.21,3.97)))
cmos_s0.add(gdstk.Label('x3_bar', (-10.887,6.665), layer=68, texttype=16))
cmos_s0.add(gdstk.Label('x3', (-11.457,6.97), layer=68, texttype=16))
cmos_s0.add(gdstk.Label('x2_bar', (-12.032,6.665), layer=68, texttype=16))
cmos_s0.add(gdstk.Label('x2', (-12.597,6.97), layer=68, texttype=16))
cmos_s0.add(gdstk.Label('x1_bar', (-13.167,6.66), layer=68, texttype=16))
cmos_s0.add(gdstk.Label('x1', (-13.737,6.965), layer=68, texttype=16))
cmos_s0.add(gdstk.Label('x0_bar', (-14.312,6.66), layer=68, texttype=16))
cmos_s0.add(gdstk.Label('x0', (-14.877,6.965), layer=68, texttype=16))
cmos_s0.add(gdstk.Label('GND', (-10.32,0), layer=68, texttype=16))
cmos_s0.add(gdstk.Label('VDD', (-9.775,7.895), layer=68, texttype=16))
cmos_s0.add(gdstk.Label('s0', (14.375,3.31), layer=69, texttype=16))

lib.write_gds('CMOS_s0.gds')
